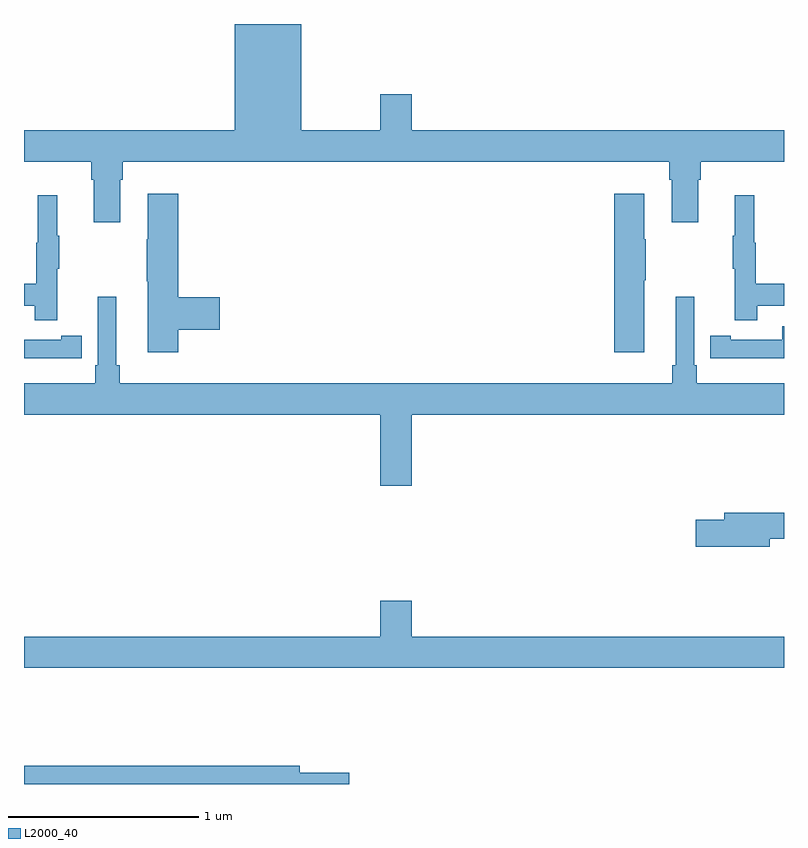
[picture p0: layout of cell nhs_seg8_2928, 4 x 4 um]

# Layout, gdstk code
import gdstk
lib = gdstk.Library(unit=1e-6, precision=1e-09)
def P(c, l, *ps):  # polygons
    for p in ps: c.add(gdstk.Polygon(p, *l))
L2000_40 = (2000, 40)

nhs_seg8_2928 = lib.new_cell('nhs_seg8_2928')
P(nhs_seg8_2928, L2000_40, [(295.507,1107.08),(295.52,1107.08),(295.52,1107.176),(298.397,1107.176),(298.397,1107.08),(298.409,1107.08),(298.409,1106.856),(298.549,1106.856),(298.549,1107.08),(298.562,1107.08),(298.562,1107.176),(299,1107.176),(299,1107.34),(297.04,1107.34),(297.04,1107.529),(296.876,1107.529),(296.876,1107.34),(296.458,1107.34),(296.458,1107.9),(296.108,1107.9),(296.108,1107.34),(295,1107.34),(295,1107.176),(295.355,1107.176),(295.355,1107.08),(295.367,1107.08),(295.367,1106.856),(295.507,1106.856)],
  [(295.811,1106.291),(296.029,1106.291),(296.029,1106.462),(295.811,1106.462),(295.811,1107.007),(295.652,1107.007),(295.652,1106.768),(295.645,1106.768),(295.645,1106.545),(295.652,1106.545),(295.652,1106.172),(295.811,1106.172)],
  [(298.264,1106.551),(298.272,1106.551),(298.272,1106.768),(298.264,1106.768),(298.264,1107.007),(298.106,1107.007),(298.106,1106.172),(298.264,1106.172)],
  [(298.859,1106.418),(299,1106.418),(299,1106.534),(298.852,1106.534),(298.852,1106.748),(298.844,1106.748),(298.844,1106.998),(298.742,1106.998),(298.742,1106.785),(298.731,1106.785),(298.731,1106.611),(298.742,1106.611),(298.742,1106.34),(298.859,1106.34)],
  [(295.175,1106.611),(295.186,1106.611),(295.186,1106.785),(295.175,1106.785),(295.175,1106.998),(295.072,1106.998),(295.072,1106.748),(295.065,1106.748),(295.065,1106.534),(295,1106.534),(295,1106.418),(295.057,1106.418),(295.057,1106.34),(295.175,1106.34)],
  [(297.04,1105.844),(299,1105.844),(299,1106.008),(298.541,1106.008),(298.541,1106.104),(298.527,1106.104),(298.527,1106.464),(298.43,1106.464),(298.43,1106.104),(298.411,1106.104),(298.411,1106.008),(295.505,1106.008),(295.505,1106.104),(295.486,1106.104),(295.486,1106.464),(295.389,1106.464),(295.389,1106.104),(295.376,1106.104),(295.376,1106.008),(295,1106.008),(295,1105.844),(296.876,1105.844),(296.876,1105.47),(297.04,1105.47)],
  [(299,1106.31),(298.992,1106.31),(298.992,1106.238),(298.72,1106.238),(298.72,1106.258),(298.612,1106.258),(298.612,1106.142),(298.72,1106.142),(298.72,1106.141),(299,1106.141)],
  [(295.196,1106.142),(295.304,1106.142),(295.304,1106.258),(295.196,1106.258),(295.196,1106.238),(295,1106.238),(295,1106.141),(295.196,1106.141)],
  [(298.924,1105.192),(299,1105.192),(299,1105.328),(298.685,1105.328),(298.685,1105.292),(298.536,1105.292),(298.536,1105.15),(298.924,1105.15)],
  [(299,1104.676),(297.04,1104.676),(297.04,1104.865),(296.876,1104.865),(296.876,1104.676),(295,1104.676),(295,1104.512),(299,1104.512)],
  [(296.713,1103.96),(296.452,1103.96),(296.452,1103.996),(295,1103.996),(295,1103.9),(296.713,1103.9)])

lib.write_gds('nhs_seg8_2928.gds')
